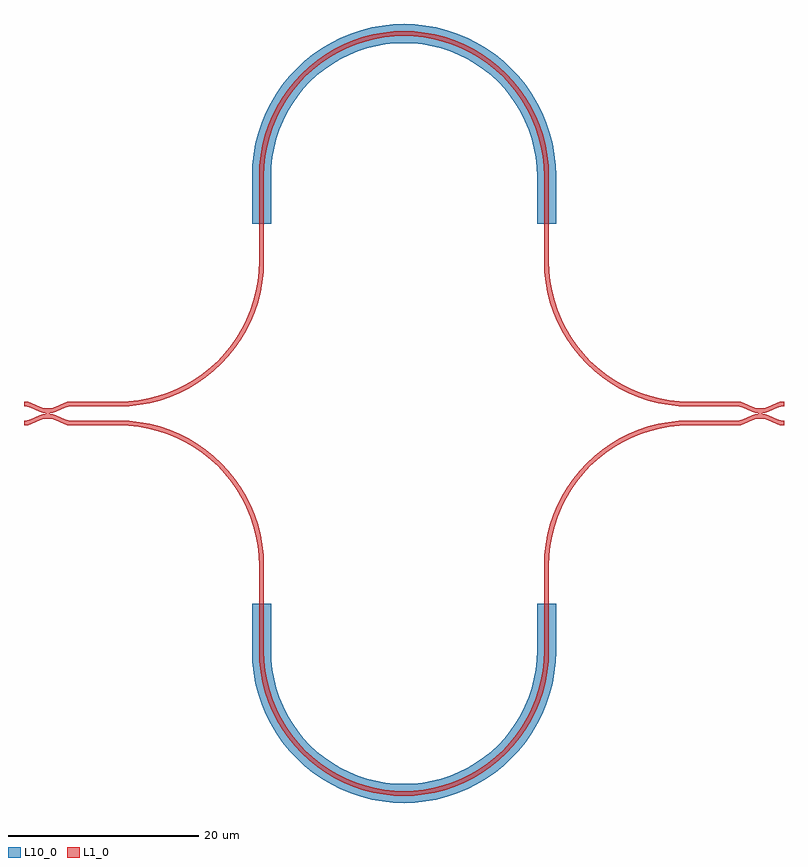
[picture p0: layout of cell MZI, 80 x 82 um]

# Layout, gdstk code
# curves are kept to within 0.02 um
import gdstk
lib = gdstk.Library(unit=1e-6, precision=1e-09)
def P(c, l, *ps):  # polygons
    for p in ps: c.add(gdstk.Polygon(p, *l))
L1_0 = (1, 0)
L10_0 = (10, 0)

directional_coupler = lib.new_cell('Directional Coupler')
P(directional_coupler, L1_0, [(0.025,-1.25),(0.426,-1.215),(0.734,-1.126),(1.834,-0.645),(2.076,-0.575),(2.3,-0.55),(2.924,-0.575),(3.166,-0.645),(4.266,-1.126),(4.574,-1.215),(5,-1.25),(5,-0.75),(4.676,-0.725),(4.434,-0.655),(3.334,-0.174),(3.026,-0.085),(2.3,-0.05),(1.974,-0.085),(1.666,-0.174),(0.566,-0.655),(0.324,-0.725),(0,-0.75),(0,-1.25)],
  [(0.025,0.75),(0.324,0.725),(0.566,0.655),(1.666,0.174),(1.974,0.085),(2.7,0.05),(3.026,0.085),(3.334,0.174),(4.434,0.655),(4.676,0.725),(5,0.75),(5,1.25),(4.574,1.215),(4.266,1.126),(3.166,0.645),(2.924,0.575),(2.7,0.55),(2.076,0.575),(1.834,0.645),(0.734,1.126),(0.426,1.215),(0,1.25),(0,0.75)])

mzi = lib.new_cell('MZI')
mzi.add(gdstk.FlexPath([(5,1),(10,1),(11.07,1.038),(12.135,1.153),(13.188,1.343),(14.226,1.608),(15.242,1.946),(16.231,2.356),(17.189,2.835),(18.11,3.381),(18.989,3.992),(19.823,4.664),(20.607,5.393),(21.336,6.177),(22.008,7.011),(22.619,7.89),(23.165,8.811),(23.644,9.769),(24.054,10.758),(24.392,11.774),(24.657,12.812),(24.847,13.865),(24.962,14.93),(25,16),(25,25),(25.038,26.07),(25.153,27.135),(25.343,28.188),(25.608,29.226),(25.946,30.242),(26.356,31.231),(26.835,32.189),(27.381,33.11),(27.992,33.989),(28.664,34.823),(29.393,35.607),(30.177,36.336),(31.011,37.008),(31.89,37.619),(32.811,38.165),(33.769,38.644),(34.758,39.054),(35.774,39.392),(36.812,39.657),(37.865,39.847),(38.93,39.962),(40,40),(40,40),(41.07,39.962),(42.135,39.847),(43.188,39.657),(44.226,39.392),(45.242,39.054),(46.231,38.644),(47.189,38.165),(48.11,37.619),(48.989,37.008),(49.823,36.336),(50.607,35.607),(51.336,34.823),(52.008,33.989),(52.619,33.11),(53.165,32.189),(53.644,31.231),(54.054,30.242),(54.392,29.226),(54.657,28.188),(54.847,27.135),(54.962,26.07),(55,25),(55,16),(55.038,14.93),(55.153,13.865),(55.343,12.812),(55.608,11.774),(55.946,10.758),(56.356,9.769),(56.835,8.811),(57.381,7.89),(57.992,7.011),(58.664,6.177),(59.393,5.393),(60.177,4.664),(61.011,3.992),(61.89,3.381),(62.811,2.835),(63.769,2.356),(64.758,1.946),(65.774,1.608),(66.812,1.343),(67.865,1.153),(68.93,1.038),(70,1),(75,1)], 0.5, ends="flush", simple_path=True, layer=1, datatype=0))  # L1_0
mzi.add(gdstk.FlexPath([(5,-1),(10,-1),(11.07,-1.038),(12.135,-1.153),(13.188,-1.343),(14.226,-1.608),(15.242,-1.946),(16.231,-2.356),(17.189,-2.835),(18.11,-3.381),(18.989,-3.992),(19.823,-4.664),(20.607,-5.393),(21.336,-6.177),(22.008,-7.011),(22.619,-7.89),(23.165,-8.811),(23.644,-9.769),(24.054,-10.758),(24.392,-11.774),(24.657,-12.812),(24.847,-13.865),(24.962,-14.93),(25,-16),(25,-25),(25.038,-26.07),(25.153,-27.135),(25.343,-28.188),(25.608,-29.226),(25.946,-30.242),(26.356,-31.231),(26.835,-32.189),(27.381,-33.11),(27.992,-33.989),(28.664,-34.823),(29.393,-35.607),(30.177,-36.336),(31.011,-37.008),(31.89,-37.619),(32.811,-38.165),(33.769,-38.644),(34.758,-39.054),(35.774,-39.392),(36.812,-39.657),(37.865,-39.847),(38.93,-39.962),(40,-40),(40,-40),(41.07,-39.962),(42.135,-39.847),(43.188,-39.657),(44.226,-39.392),(45.242,-39.054),(46.231,-38.644),(47.189,-38.165),(48.11,-37.619),(48.989,-37.008),(49.823,-36.336),(50.607,-35.607),(51.336,-34.823),(52.008,-33.989),(52.619,-33.11),(53.165,-32.189),(53.644,-31.231),(54.054,-30.242),(54.392,-29.226),(54.657,-28.188),(54.847,-27.135),(54.962,-26.07),(55,-25),(55,-16),(55.038,-14.93),(55.153,-13.865),(55.343,-12.812),(55.608,-11.774),(55.946,-10.758),(56.356,-9.769),(56.835,-8.811),(57.381,-7.89),(57.992,-7.011),(58.664,-6.177),(59.393,-5.393),(60.177,-4.664),(61.011,-3.992),(61.89,-3.381),(62.811,-2.835),(63.769,-2.356),(64.758,-1.946),(65.774,-1.608),(66.812,-1.343),(67.865,-1.153),(68.93,-1.038),(70,-1),(75,-1)], 0.5, ends="flush", simple_path=True, layer=1, datatype=0))  # L1_0
mzi.add(gdstk.FlexPath([(25,20),(25,25),(25.038,26.07),(25.153,27.135),(25.343,28.188),(25.608,29.226),(25.946,30.242),(26.356,31.231),(26.835,32.189),(27.381,33.11),(27.992,33.989),(28.664,34.823),(29.393,35.607),(30.177,36.336),(31.011,37.008),(31.89,37.619),(32.811,38.165),(33.769,38.644),(34.758,39.054),(35.774,39.392),(36.812,39.657),(37.865,39.847),(38.93,39.962),(40,40),(40,40),(41.07,39.962),(42.135,39.847),(43.188,39.657),(44.226,39.392),(45.242,39.054),(46.231,38.644),(47.189,38.165),(48.11,37.619),(48.989,37.008),(49.823,36.336),(50.607,35.607),(51.336,34.823),(52.008,33.989),(52.619,33.11),(53.165,32.189),(53.644,31.231),(54.054,30.242),(54.392,29.226),(54.657,28.188),(54.847,27.135),(54.962,26.07),(55,25),(55,20)], 2, ends="flush", simple_path=True, layer=10, datatype=0))  # L10_0
mzi.add(gdstk.FlexPath([(25,-20),(25,-25),(25.038,-26.07),(25.153,-27.135),(25.343,-28.188),(25.608,-29.226),(25.946,-30.242),(26.356,-31.231),(26.835,-32.189),(27.381,-33.11),(27.992,-33.989),(28.664,-34.823),(29.393,-35.607),(30.177,-36.336),(31.011,-37.008),(31.89,-37.619),(32.811,-38.165),(33.769,-38.644),(34.758,-39.054),(35.774,-39.392),(36.812,-39.657),(37.865,-39.847),(38.93,-39.962),(40,-40),(40,-40),(41.07,-39.962),(42.135,-39.847),(43.188,-39.657),(44.226,-39.392),(45.242,-39.054),(46.231,-38.644),(47.189,-38.165),(48.11,-37.619),(48.989,-37.008),(49.823,-36.336),(50.607,-35.607),(51.336,-34.823),(52.008,-33.989),(52.619,-33.11),(53.165,-32.189),(53.644,-31.231),(54.054,-30.242),(54.392,-29.226),(54.657,-28.188),(54.847,-27.135),(54.962,-26.07),(55,-25),(55,-20)], 2, ends="flush", simple_path=True, layer=10, datatype=0))  # L10_0
mzi.add(gdstk.Reference(directional_coupler, (0,0)))
mzi.add(gdstk.Reference(directional_coupler, (75,0)))

lib.write_gds('MZI.gds')
